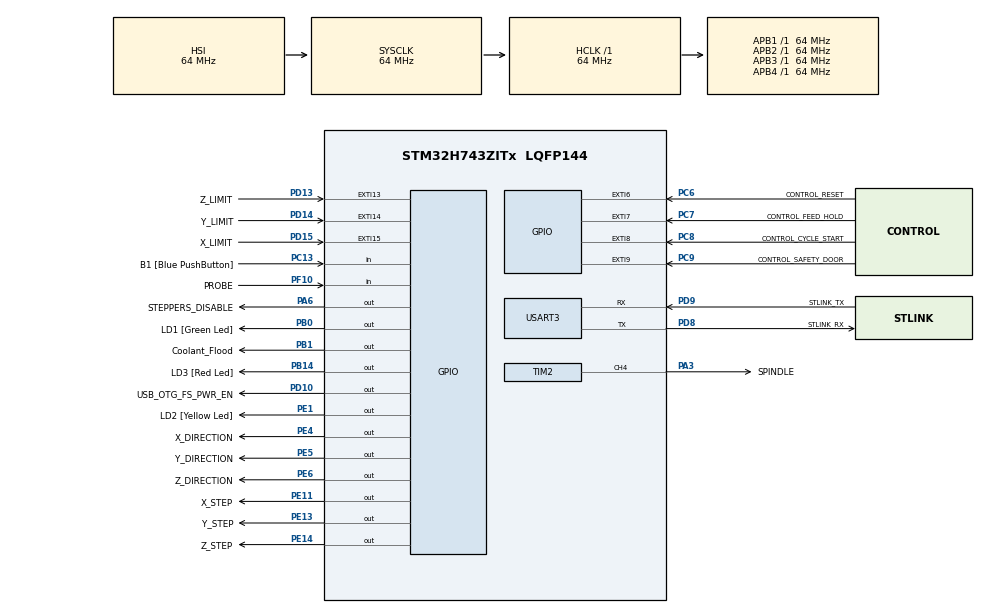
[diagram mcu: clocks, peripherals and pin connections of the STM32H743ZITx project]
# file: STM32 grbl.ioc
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Mcu.Family=STM32H7
NVIC.USART3_IRQn=true\:0\:0\:false\:false\:true\:true\:true
RCC.CortexFreq_Value=64000000
PH0-OSC_IN\ (PH0).Signal=RCC_OSC_IN
PE11.GPIO_Label=X_STEP
PB14.GPIO_Label=LD3 [Red Led]
PC15-OSC32_OUT\ (OSC32_OUT).Mode=LSE-External-Oscillator
RCC.PLLFRACN=0
PC6.GPIO_Label=CONTROL_RESET
PB0.GPIO_Label=LD1 [Green Led]
PA6.GPIO_Label=STEPPERS_DISABLE
PC13.GPIO_Label=B1 [Blue PushButton]
PG13.Signal=ETH_TXD0
PD9.Mode=Asynchronous
PE6.GPIO_Label=Z_DIRECTION
PG11.Signal=ETH_TX_EN
ProjectManager.StackSize=0x400
USART3.VirtualMode-Asynchronous=VM_ASYNC
PD13.Signal=GPXTI13
TIM1.Prescaler=64-1
RCC.HCLKFreq_Value=64000000
PC7.Signal=GPXTI7
PD8.Signal=USART3_TX
PE5.Signal=GPIO_Output
PE1.Signal=GPIO_Output
PF10.GPIO_Label=PROBE
NVIC.EXTI15_10_IRQn=true\:0\:0\:false\:false\:true\:true\:true
RCC.HSE_VALUE=8000000
RCC.DIVM1=1
PE13.Signal=GPIO_Output
PB1.GPIO_Label=Coolant_Flood
PE4.GPIO_Label=X_DIRECTION
PD14.GPIO_PuPd=GPIO_PULLUP
PE4.Signal=GPIO_Output
VP_TIM1_VS_ClockSourceINT.Mode=Internal
RCC.APB3Freq_Value=64000000
PD13.GPIO_Label=Z_LIMIT
PC7.GPIO_ModeDefaultEXTI=GPIO_MODE_IT_RISING_FALLING
Mcu.Package=LQFP144
TIM2.Prescaler=984-1
PB1.Signal=GPIO_Output
PA6.Signal=GPIO_Output
PD15.GPIO_PuPd=GPIO_PULLUP
PC6.GPIO_PuPd=GPIO_PULLUP
PC14-OSC32_IN\ (OSC32_IN).Mode=LSE-External-Oscillator
RCC.APB4Freq_Value=64000000
PD13.GPIO_ModeDefaultEXTI=GPIO_MODE_IT_RISING_FALLING
TIM1.Period=0xFFFF-1
PH0-OSC_IN\ (PH0).Mode=HSE-External-Clock-Source
PD15.Signal=GPXTI15
PC9.GPIO_ModeDefaultEXTI=GPIO_MODE_IT_RISING_FALLING
PA3.Signal=S_TIM2_CH4
RCC.PLLSourceVirtual=RCC_PLLSOURCE_HSE
TIM2.Channel-PWM\ Generation4\ CH4=TIM_CHANNEL_4
RCC.DIVQ1=4
PD15.GPIO_Label=X_LIMIT
PD9.GPIO_Label=STLINK_TX
PC9.GPIO_Label=CONTROL_SAFETY_DOOR
PC13.Signal=GPIO_Input
PC8.Signal=GPXTI8
PC6.Signal=GPXTI6
PE14.GPIO_Label=Z_STEP
PD9.Signal=USART3_RX
PD15.GPIO_ModeDefaultEXTI=GPIO_MODE_IT_RISING_FALLING
RCC.PWR_Regulator_Voltage_Scale=PWR_REGULATOR_VOLTAGE_SCALE2
PH1-OSC_OUT\ (PH1).Signal=RCC_OSC_OUT
PD8.GPIO_Label=STLINK_RX
PD10.Signal=GPIO_Output
PC8.GPIO_Label=CONTROL_CYCLE_START
PC6.GPIO_ModeDefaultEXTI=GPIO_MODE_IT_RISING_FALLING
ProjectManager.TargetToolchain=STM32CubeIDE
PC15-OSC32_OUT\ (OSC32_OUT).Signal=RCC_OSC32_OUT
RCC.DIVN1=24
RCC.USBFreq_Value=48000000
PC7.GPIO_PuPd=GPIO_PULLUP
PD10.GPIO_Label=USB_OTG_FS_PWR_EN
PE11.Signal=GPIO_Output
PD8.Mode=Asynchronous
PB14.Signal=GPIO_Output
board=NUCLEO-H743ZI2
PE1.GPIO_Label=LD2 [Yellow Led]
RCC.APB2Freq_Value=64000000
PE14.Signal=GPIO_Output
VP_TIM2_VS_ClockSourceINT.Mode=Internal
PF10.Signal=GPIO_Input
RCC.ADCFreq_Value=16125000
PC9.GPIO_PuPd=GPIO_PULLUP
PD13.GPIO_PuPd=GPIO_PULLUP
PD14.GPIO_Label=Y_LIMIT
TIM2.Period=255-1
PE6.Signal=GPIO_Output
Mcu.Name=STM32H743ZITx
PD14.Signal=GPXTI14
PC7.GPIO_Label=CONTROL_FEED_HOLD
PC8.GPIO_PuPd=GPIO_PULLUP
RCC.SYSCLKFreq_VALUE=64000000
PE13.GPIO_Label=Y_STEP
PC14-OSC32_IN\ (OSC32_IN).Signal=RCC_OSC32_IN
PE5.GPIO_Label=Y_DIRECTION
NVIC.EXTI9_5_IRQn=true\:0\:0\:false\:false\:true\:true\:true
ProjectManager.HeapSize=0x200
SH.S_TIM2_CH4.0=TIM2_CH4,PWM Generation4 CH4
NVIC.PriorityGroup=NVIC_PRIORITYGROUP_4
PD14.GPIO_ModeDefaultEXTI=GPIO_MODE_IT_RISING_FALLING
PC8.GPIO_ModeDefaultEXTI=GPIO_MODE_IT_RISING_FALLING
TIM2.Pulse-PWM\ Generation4\ CH4=0
PC9.Signal=GPXTI9
RCC.APB1Freq_Value=64000000
PB0.Signal=GPIO_Output
PA3.GPIO_Label=SPINDLE

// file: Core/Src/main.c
/* USER CODE BEGIN Header */
/**
  ******************************************************************************
  * @file           : main.c
  * @brief          : Main program body
  ******************************************************************************
  * @attention
  *
  * <h2><center>&copy; Copyright (c) 2021 STMicroelectronics.
  * All rights reserved.</center></h2>
  *
  * This software component is licensed by ST under BSD 3-Clause license,
  * the "License"; You may not use this file except in compliance with the
  * License. You may obtain a copy of the License at:
  *                        opensource.org/licenses/BSD-3-Clause
  *
  ******************************************************************************
  */
/* USER CODE END Header */
#include "main.h"

/* USER CODE BEGIN Includes */
#include "grbl/grbl.h"
#include "grbl/config.h"

/* USER CODE END Includes */

TIM_HandleTypeDef htim1;
TIM_HandleTypeDef htim2;

UART_HandleTypeDef huart3;

void SystemClock_Config(void);
static void MX_GPIO_Init(void);
static void MX_USART3_UART_Init(void);
static void MX_TIM2_Init(void);
static void MX_TIM1_Init(void);

int main(void)
{

  /* MCU Configuration--------------------------------------------------------*/

  /* Reset of all peripherals, Initializes the Flash interface and the Systick. */
  HAL_Init();

  /* Configure the system clock */
  SystemClock_Config();

  /* Initialize all configured peripherals */
  MX_GPIO_Init();
  MX_USART3_UART_Init();
  MX_TIM2_Init();
  MX_TIM1_Init();

  /* Infinite loop */
  /* USER CODE BEGIN WHILE */
  // Initialize system upon power-up.
  serial_init();   // Setup serial baud rate and interrupts
  settings_init(); // Load Grbl settings from EEPROM
  stepper_init();  // Configure stepper pins and interrupt timers
  system_init();   // Configure pinout pins and pin-change interrupt

  memset(sys_position,0,sizeof(sys_position)); // Clear machine position.
  __enable_irq();//sei(); // Enable interrupts

  // Initialize system state.
  #ifdef FORCE_INITIALIZATION_ALARM
    // Force Grbl into an ALARM state upon a power-cycle or hard reset.
    sys.state = STATE_ALARM;
  #else
    sys.state = STATE_IDLE;
  #endif

  // Check for power-up and set system alarm if homing is enabled to force homing cycle
  // by setting Grbl's alarm state. Alarm locks out all g-code commands, including the
  // startup scripts, but allows access to settings and internal commands. Only a homing
  // cycle '$H' or kill alarm locks '$X' will disable the alarm.
  // NOTE: The startup script will run after successful completion of the homing cycle, but
  // not after disabling the alarm locks. Prevents motion startup blocks from crashing into
  // things uncontrollably. Very bad.
  #ifdef HOMING_INIT_LOCK
    if (bit_istrue(settings.flags,BITFLAG_HOMING_ENABLE)) { sys.state = STATE_ALARM; }
  #endif

  // Grbl initialization loop upon power-up or a system abort. For the latter, all processes
  // will return to this loop to be cleanly re-initialized.

  for (;;)
  {
	// Reset system variables.
	uint8_t prior_state = sys.state;
	memset(&sys, 0, sizeof(system_t)); // Clear system struct variable.
	sys.state = prior_state;
	sys.f_override = DEFAULT_FEED_OVERRIDE;  // Set to 100%
	sys.r_override = DEFAULT_RAPID_OVERRIDE; // Set to 100%
	sys.spindle_speed_ovr = DEFAULT_SPINDLE_SPEED_OVERRIDE; // Set to 100%
		memset(sys_probe_position,0,sizeof(sys_probe_position)); // Clear probe position.
	sys_probe_state = 0;
	sys_rt_exec_state = 0;
	sys_rt_exec_alarm = 0;
	sys_rt_exec_motion_override = 0;
	sys_rt_exec_accessory_override = 0;

	// Reset Grbl primary systems.
	serial_reset_read_buffer(); // Clear serial read buffer
	gc_init(); // Set g-code parser to default state
	spindle_init();
	coolant_init();
	limits_init();
	probe_init();
	plan_reset(); // Clear block buffer and planner variables
	st_reset(); // Clear stepper subsystem variables.

	// Sync cleared gcode and planner positions to current system position.
	plan_sync_position();
	gc_sync_position();

	// Print welcome message. Indicates an initialization has occured at power-up or with a reset.
	report_init_message();

	// Start Grbl main loop. Processes program inputs and executes them.
	protocol_main_loop();
    /* USER CODE END WHILE */

  }
}

void SystemClock_Config(void)
{
  RCC_OscInitTypeDef RCC_OscInitStruct = {0};
  RCC_ClkInitTypeDef RCC_ClkInitStruct = {0};

  /** Supply configuration update enable
  */
  HAL_PWREx_ConfigSupply(PWR_LDO_SUPPLY);
  /** Configure the main internal regulator output voltage
  */
  __HAL_PWR_VOLTAGESCALING_CONFIG(PWR_REGULATOR_VOLTAGE_SCALE2);

  while(!__HAL_PWR_GET_FLAG(PWR_FLAG_VOSRDY)) {}
  /** Initializes the RCC Oscillators according to the specified parameters
  * in the RCC_OscInitTypeDef structure.
  */
  RCC_OscInitStruct.OscillatorType = RCC_OSCILLATORTYPE_HSI;
  RCC_OscInitStruct.HSIState = RCC_HSI_DIV1;
  RCC_OscInitStruct.HSICalibrationValue = RCC_HSICALIBRATION_DEFAULT;
  RCC_OscInitStruct.PLL.PLLState = RCC_PLL_NONE;
  if (HAL_RCC_OscConfig(&RCC_OscInitStruct) != HAL_OK)
  {
    Error_Handler();
  }
  /** Initializes the CPU, AHB and APB buses clocks
  */
  RCC_ClkInitStruct.ClockType = RCC_CLOCKTYPE_HCLK|RCC_CLOCKTYPE_SYSCLK
                              |RCC_CLOCKTYPE_PCLK1|RCC_CLOCKTYPE_PCLK2
                              |RCC_CLOCKTYPE_D3PCLK1|RCC_CLOCKTYPE_D1PCLK1;
  RCC_ClkInitStruct.SYSCLKSource = RCC_SYSCLKSOURCE_HSI;
  RCC_ClkInitStruct.SYSCLKDivider = RCC_SYSCLK_DIV1;
  RCC_ClkInitStruct.AHBCLKDivider = RCC_HCLK_DIV1;
  RCC_ClkInitStruct.APB3CLKDivider = RCC_APB3_DIV1;
  RCC_ClkInitStruct.APB1CLKDivider = RCC_APB1_DIV1;
  RCC_ClkInitStruct.APB2CLKDivider = RCC_APB2_DIV1;
  RCC_ClkInitStruct.APB4CLKDivider = RCC_APB4_DIV1;

  if (HAL_RCC_ClockConfig(&RCC_ClkInitStruct, FLASH_LATENCY_1) != HAL_OK)
  {
    Error_Handler();
  }
}

static void MX_TIM1_Init(void)
{

  TIM_ClockConfigTypeDef sClockSourceConfig = {0};
  TIM_MasterConfigTypeDef sMasterConfig = {0};

  htim1.Instance = TIM1;
  htim1.Init.Prescaler = 64-1;
  htim1.Init.CounterMode = TIM_COUNTERMODE_UP;
  htim1.Init.Period = 0xFFFF-1;
  htim1.Init.ClockDivision = TIM_CLOCKDIVISION_DIV1;
  htim1.Init.RepetitionCounter = 0;
  htim1.Init.AutoReloadPreload = TIM_AUTORELOAD_PRELOAD_DISABLE;
  if (HAL_TIM_Base_Init(&htim1) != HAL_OK)
  {
    Error_Handler();
  }
  sClockSourceConfig.ClockSource = TIM_CLOCKSOURCE_INTERNAL;
  if (HAL_TIM_ConfigClockSource(&htim1, &sClockSourceConfig) != HAL_OK)
  {
    Error_Handler();
  }
  sMasterConfig.MasterOutputTrigger = TIM_TRGO_RESET;
  sMasterConfig.MasterOutputTrigger2 = TIM_TRGO2_RESET;
  sMasterConfig.MasterSlaveMode = TIM_MASTERSLAVEMODE_DISABLE;
  if (HAL_TIMEx_MasterConfigSynchronization(&htim1, &sMasterConfig) != HAL_OK)
  {
    Error_Handler();
  }

}

static void MX_TIM2_Init(void)
{

  TIM_ClockConfigTypeDef sClockSourceConfig = {0};
  TIM_MasterConfigTypeDef sMasterConfig = {0};
  TIM_OC_InitTypeDef sConfigOC = {0};

  htim2.Instance = TIM2;
  htim2.Init.Prescaler = 984-1;
  htim2.Init.CounterMode = TIM_COUNTERMODE_UP;
  htim2.Init.Period = 255-1;
  htim2.Init.ClockDivision = TIM_CLOCKDIVISION_DIV1;
  htim2.Init.AutoReloadPreload = TIM_AUTORELOAD_PRELOAD_DISABLE;
  if (HAL_TIM_Base_Init(&htim2) != HAL_OK)
  {
    Error_Handler();
  }
  sClockSourceConfig.ClockSource = TIM_CLOCKSOURCE_INTERNAL;
  if (HAL_TIM_ConfigClockSource(&htim2, &sClockSourceConfig) != HAL_OK)
  {
    Error_Handler();
  }
  if (HAL_TIM_PWM_Init(&htim2) != HAL_OK)
  {
    Error_Handler();
  }
  sMasterConfig.MasterOutputTrigger = TIM_TRGO_RESET;
  sMasterConfig.MasterSlaveMode = TIM_MASTERSLAVEMODE_DISABLE;
  if (HAL_TIMEx_MasterConfigSynchronization(&htim2, &sMasterConfig) != HAL_OK)
  {
    Error_Handler();
  }
  sConfigOC.OCMode = TIM_OCMODE_PWM1;
  sConfigOC.Pulse = 0;
  sConfigOC.OCPolarity = TIM_OCPOLARITY_HIGH;
  sConfigOC.OCFastMode = TIM_OCFAST_DISABLE;
  if (HAL_TIM_PWM_ConfigChannel(&htim2, &sConfigOC, TIM_CHANNEL_4) != HAL_OK)
  {
    Error_Handler();
  }
  HAL_TIM_MspPostInit(&htim2);

}

static void MX_USART3_UART_Init(void)
{

  huart3.Instance = USART3;
  huart3.Init.BaudRate = 115200;
  huart3.Init.WordLength = UART_WORDLENGTH_8B;
  huart3.Init.StopBits = UART_STOPBITS_1;
  huart3.Init.Parity = UART_PARITY_NONE;
  huart3.Init.Mode = UART_MODE_TX_RX;
  huart3.Init.HwFlowCtl = UART_HWCONTROL_NONE;
  huart3.Init.OverSampling = UART_OVERSAMPLING_16;
  huart3.Init.OneBitSampling = UART_ONE_BIT_SAMPLE_DISABLE;
  huart3.Init.ClockPrescaler = UART_PRESCALER_DIV1;
  huart3.AdvancedInit.AdvFeatureInit = UART_ADVFEATURE_NO_INIT;
  if (HAL_UART_Init(&huart3) != HAL_OK)
  {
    Error_Handler();
  }
  if (HAL_UARTEx_SetTxFifoThreshold(&huart3, UART_TXFIFO_THRESHOLD_1_8) != HAL_OK)
  {
    Error_Handler();
  }
  if (HAL_UARTEx_SetRxFifoThreshold(&huart3, UART_RXFIFO_THRESHOLD_1_8) != HAL_OK)
  {
    Error_Handler();
  }
  if (HAL_UARTEx_DisableFifoMode(&huart3) != HAL_OK)
  {
    Error_Handler();
  }

}

static void MX_GPIO_Init(void)
{
  GPIO_InitTypeDef GPIO_InitStruct = {0};

  /* GPIO Ports Clock Enable */
  __HAL_RCC_GPIOE_CLK_ENABLE();
  __HAL_RCC_GPIOC_CLK_ENABLE();
  __HAL_RCC_GPIOF_CLK_ENABLE();
  __HAL_RCC_GPIOH_CLK_ENABLE();
  __HAL_RCC_GPIOA_CLK_ENABLE();
  __HAL_RCC_GPIOB_CLK_ENABLE();
  __HAL_RCC_GPIOD_CLK_ENABLE();
  __HAL_RCC_GPIOG_CLK_ENABLE();

  /*Configure GPIO pin Output Level */
  HAL_GPIO_WritePin(GPIOE, X_DIRECTION_Pin|Y_DIRECTION_Pin|Z_DIRECTION_Pin|X_STEP_Pin
                          |Y_STEP_Pin|Z_STEP_Pin|LD2_Pin, GPIO_PIN_RESET);

  /*Configure GPIO pin Output Level */
  HAL_GPIO_WritePin(STEPPERS_DISABLE_GPIO_Port, STEPPERS_DISABLE_Pin, GPIO_PIN_RESET);

  /*Configure GPIO pin Output Level */
  HAL_GPIO_WritePin(GPIOB, LD1_Pin|Coolant_Flood_Pin|LD3_Pin, GPIO_PIN_RESET);

  /*Configure GPIO pin Output Level */
  HAL_GPIO_WritePin(USB_OTG_FS_PWR_EN_GPIO_Port, USB_OTG_FS_PWR_EN_Pin, GPIO_PIN_RESET);

  /*Configure GPIO pins : X_DIRECTION_Pin Y_DIRECTION_Pin Z_DIRECTION_Pin X_STEP_Pin
                           Y_STEP_Pin Z_STEP_Pin LD2_Pin */
  GPIO_InitStruct.Pin = X_DIRECTION_Pin|Y_DIRECTION_Pin|Z_DIRECTION_Pin|X_STEP_Pin
                          |Y_STEP_Pin|Z_STEP_Pin|LD2_Pin;
  GPIO_InitStruct.Mode = GPIO_MODE_OUTPUT_PP;
  GPIO_InitStruct.Pull = GPIO_NOPULL;
  GPIO_InitStruct.Speed = GPIO_SPEED_FREQ_LOW;
  HAL_GPIO_Init(GPIOE, &GPIO_InitStruct);

  /*Configure GPIO pin : B1_Pin */
  GPIO_InitStruct.Pin = B1_Pin;
  GPIO_InitStruct.Mode = GPIO_MODE_INPUT;
  GPIO_InitStruct.Pull = GPIO_NOPULL;
  HAL_GPIO_Init(B1_GPIO_Port, &GPIO_InitStruct);

  /*Configure GPIO pin : PROBE_Pin */
  GPIO_InitStruct.Pin = PROBE_Pin;
  GPIO_InitStruct.Mode = GPIO_MODE_INPUT;
  GPIO_InitStruct.Pull = GPIO_NOPULL;
  HAL_GPIO_Init(PROBE_GPIO_Port, &GPIO_InitStruct);

  /*Configure GPIO pin : STEPPERS_DISABLE_Pin */
  GPIO_InitStruct.Pin = STEPPERS_DISABLE_Pin;
  GPIO_InitStruct.Mode = GPIO_MODE_OUTPUT_PP;
  GPIO_InitStruct.Pull = GPIO_NOPULL;
  GPIO_InitStruct.Speed = GPIO_SPEED_FREQ_LOW;
  HAL_GPIO_Init(STEPPERS_DISABLE_GPIO_Port, &GPIO_InitStruct);

  /*Configure GPIO pins : LD1_Pin Coolant_Flood_Pin LD3_Pin */
  GPIO_InitStruct.Pin = LD1_Pin|Coolant_Flood_Pin|LD3_Pin;
  GPIO_InitStruct.Mode = GPIO_MODE_OUTPUT_PP;
  GPIO_InitStruct.Pull = GPIO_NOPULL;
  GPIO_InitStruct.Speed = GPIO_SPEED_FREQ_LOW;
  HAL_GPIO_Init(GPIOB, &GPIO_InitStruct);

  /*Configure GPIO pin : USB_OTG_FS_PWR_EN_Pin */
  GPIO_InitStruct.Pin = USB_OTG_FS_PWR_EN_Pin;
  GPIO_InitStruct.Mode = GPIO_MODE_OUTPUT_PP;
  GPIO_InitStruct.Pull = GPIO_NOPULL;
  GPIO_InitStruct.Speed = GPIO_SPEED_FREQ_LOW;
  HAL_GPIO_Init(USB_OTG_FS_PWR_EN_GPIO_Port, &GPIO_InitStruct);

  /*Configure GPIO pins : Z_LIMIT_Pin Y_LIMIT_Pin X_LIMIT_Pin */
  GPIO_InitStruct.Pin = Z_LIMIT_Pin|Y_LIMIT_Pin|X_LIMIT_Pin;
  GPIO_InitStruct.Mode = GPIO_MODE_IT_RISING_FALLING;
  GPIO_InitStruct.Pull = GPIO_PULLUP;
  HAL_GPIO_Init(GPIOD, &GPIO_InitStruct);

  /*Configure GPIO pins : CONTROL_RESET_Pin CONTROL_FEED_HOLD_Pin CONTROL_CYCLE_START_Pin CONTROL_SAFETY_DOOR_Pin */
  GPIO_InitStruct.Pin = CONTROL_RESET_Pin|CONTROL_FEED_HOLD_Pin|CONTROL_CYCLE_START_Pin|CONTROL_SAFETY_DOOR_Pin;
  GPIO_InitStruct.Mode = GPIO_MODE_IT_RISING_FALLING;
  GPIO_InitStruct.Pull = GPIO_PULLUP;
  HAL_GPIO_Init(GPIOC, &GPIO_InitStruct);

  /*Configure GPIO pins : PG11 PG13 */
  GPIO_InitStruct.Pin = GPIO_PIN_11|GPIO_PIN_13;
  GPIO_InitStruct.Mode = GPIO_MODE_AF_PP;
  GPIO_InitStruct.Pull = GPIO_NOPULL;
  GPIO_InitStruct.Speed = GPIO_SPEED_FREQ_LOW;
  GPIO_InitStruct.Alternate = GPIO_AF11_ETH;
  HAL_GPIO_Init(GPIOG, &GPIO_InitStruct);

  /* EXTI interrupt init*/
  HAL_NVIC_SetPriority(EXTI9_5_IRQn, 0, 0);
  HAL_NVIC_EnableIRQ(EXTI9_5_IRQn);

  HAL_NVIC_SetPriority(EXTI15_10_IRQn, 0, 0);
  HAL_NVIC_EnableIRQ(EXTI15_10_IRQn);

}

void Error_Handler(void)
{
  __disable_irq();
  while (1)
  {
  }
}

/************************ (C) COPYRIGHT STMicroelectronics *****END OF FILE****/
